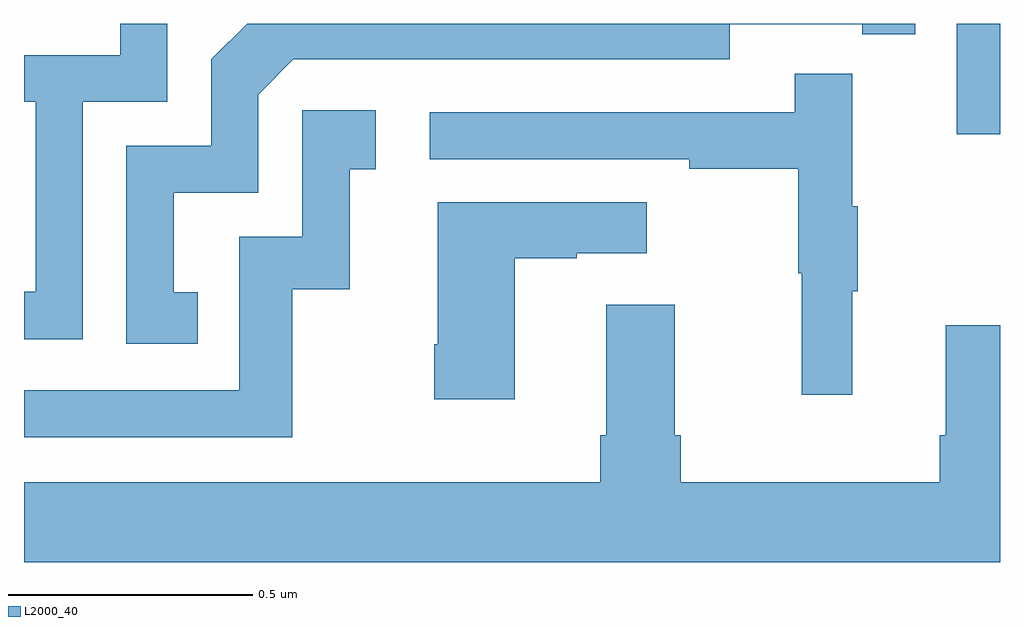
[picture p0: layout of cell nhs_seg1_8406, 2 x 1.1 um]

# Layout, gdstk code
import gdstk
lib = gdstk.Library(unit=1e-6, precision=1e-09)
def R(c, l, rs):  # rectangles x0, y0, x1, y1
    for r in rs: c.add(gdstk.rectangle(r[:2], r[2:], *l))
def P(c, l, *ps):  # polygons
    for p in ps: c.add(gdstk.Polygon(p, *l))
L2000_40 = (2000, 40)

nhs_seg1_8406 = lib.new_cell('nhs_seg1_8406')
R(nhs_seg1_8406, L2000_40, [(217.911,521.973,218,522.199)])
P(nhs_seg1_8406, L2000_40, [(216.356,521.649),(216.307,521.649),(216.307,521.853),(216.48,521.853),(216.48,522.054),(216.552,522.126),(217.446,522.126),(217.446,522.198),(217.718,522.198),(217.718,522.178),(217.826,522.178),(217.826,522.199),(216.457,522.199),(216.384,522.126),(216.384,521.949),(216.21,521.949),(216.21,521.544),(216.356,521.544)],
  [(216.12,522.039),(216.294,522.039),(216.294,522.199),(216.197,522.199),(216.197,522.135),(216,522.135),(216,522.039),(216.024,522.039),(216.024,521.65),(216,521.65),(216,521.553),(216.12,521.553)],
  [(217.697,521.651),(217.708,521.651),(217.708,521.825),(217.697,521.825),(217.697,522.097),(217.579,522.097),(217.579,522.018),(216.831,522.018),(216.831,521.922),(217.363,521.922),(217.363,521.902),(217.587,521.902),(217.587,521.688),(217.594,521.688),(217.594,521.439),(217.697,521.439)],
  [(216.55,521.655),(216.668,521.655),(216.668,521.901),(216.721,521.901),(216.721,522.022),(216.57,522.022),(216.57,521.763),(216.441,521.763),(216.441,521.448),(216,521.448),(216,521.352),(216.55,521.352)],
  [(217.006,521.719),(217.133,521.719),(217.133,521.729),(217.276,521.729),(217.276,521.833),(216.848,521.833),(216.848,521.542),(216.841,521.542),(216.841,521.43),(217.006,521.43)],
  [(218,521.581),(217.889,521.581),(217.889,521.356),(217.877,521.356),(217.877,521.26),(217.346,521.26),(217.346,521.356),(217.333,521.356),(217.333,521.623),(217.193,521.623),(217.193,521.356),(217.181,521.356),(217.181,521.26),(216,521.26),(216,521.096),(218,521.096)])

lib.write_gds('nhs_seg1_8406.gds')
